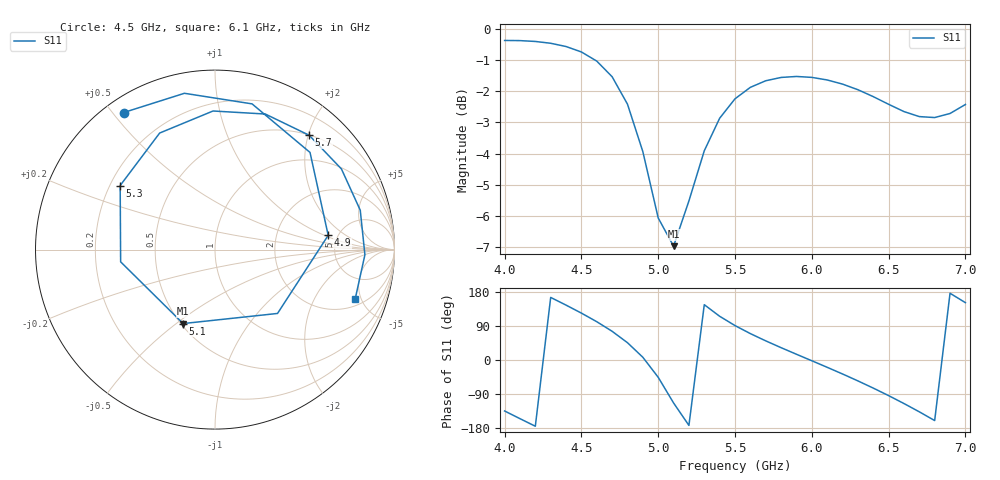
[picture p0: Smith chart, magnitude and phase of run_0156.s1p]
! Touchstone file exported from HFSS 2024.2.0
!  File:  C:/Users/wsak9/Desktop/Sim Fast/Widenad Patch/WP_AI_V1_sweep.aedt
!  Generated:  09:24:26 PM Oct 13, 2026
!  Design:  A1_model
!  Project:  WP_AI_V1_sweep
!  Setup:  Setup1
!  Solution:  Sweep
! Variables:
!  Air_gap = 1.74mm
!  Curve_Amp1 = 1.84
!  Curve_len1 = 1
!  Curve_pos = 11.445mm
!  Extra = 5.26mm
!  H_sub = 0.79mm
!  L_Patch = 18.89mm
!  L_Patch1 = 14.33mm
!  Sx = 2.86mm
!  Sy = 4.86mm
!  WS = 1.25mm
!  W_Patch = 10.2mm
!  W_Patch1 = 9.07mm
!Data is not renormalized
# GHz S MA
! Terminal data exported
! Port[1] = 1
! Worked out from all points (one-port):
!   31 points, 4 GHz to 7 GHz, reference per port
!   lowest |S11| = -7.0 dB at 5.1 GHz (marker M1), VSWR 2.63
!   |S11| at or under -10 dB: nowhere
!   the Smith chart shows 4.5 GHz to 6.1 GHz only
!   S11 on the Smith chart (normalised r, x): 4.5 GHz: 0.06, +0.53; 4.9 GHz: 4.18, +1.11; 5.1 GHz: 0.51, -0.53; 5.3 GHz: 0.24, +0.29; 5.7 GHz: 0.50, +2.02; 6.1 GHz: 2.57, -4.47
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4  0.9575 -134.5
4.1  0.957 -154.8
4.2  0.954 -174.8
4.3  0.9476 165.1
4.4  0.9364 144.8
4.5  0.9177 123.7
4.6  0.8874 101.1
4.7  0.8377 75.7
4.8  0.7571 45.6
4.9  0.6357 7.2
5  0.4979 -45.6
5.1  0.4487 -113.3
5.2  0.5302 -172.6
5.3  0.6377 145.9
5.4  0.7189 115.4
5.5  0.7723 90.8
5.6  0.8056 69.7
5.7  0.8254 50.5
5.9  0.8385 15.2
6.1  0.8278 -19.2
6.3  0.7986 -55.1
6.4  0.7785 -74.1
6.5  0.7568 -94.0
6.6  0.7368 -114.9
6.7  0.7233 -136.8
6.8  0.7207 -159.8
6.9  0.7316 176.1
7  0.7562 151.3
